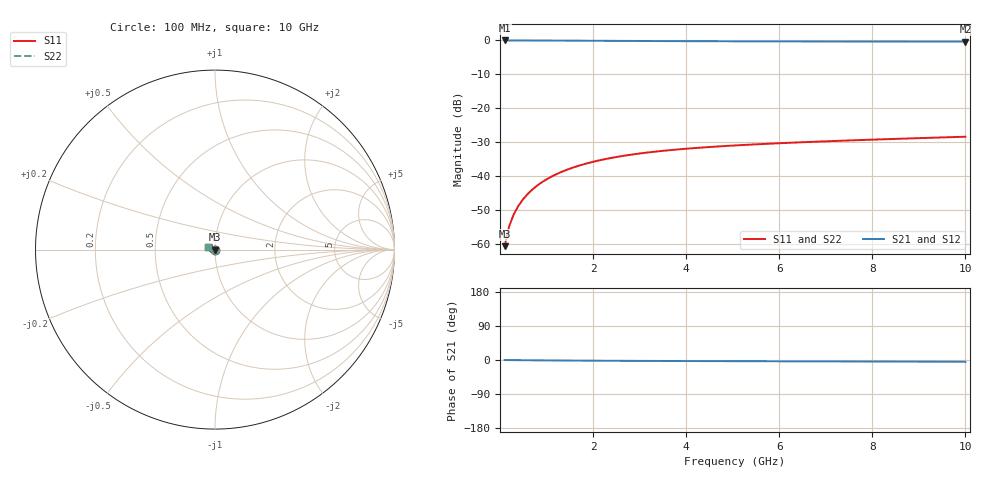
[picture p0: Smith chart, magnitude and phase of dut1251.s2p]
! Touchstone file exported from HFSS 2024.1.0
!  File:  C:/UserFiles/LocalFiles/RDL_TSV_Batchsim/temp_TSV1_1251_1780252323.aedt
!  Generated:  02:38:18 AM Jun  1, 2026
!  Design:  TSV1
!  Project:  temp_TSV1_1251_1780252323
!  Setup:  Setup1
!  Solution:  Sweep
! Variables:
!  dtsv = 9.34um
!  hbump = 3um
!  htsv = 69.13um
!  lrdl = 252.1521522um
!  p = 40
!  p1 = 56.06um
!  t = 500um
!  trdl = 3um
!  wrdl = 24.89489489um
# GHz S MA R 50.000000
! Terminal data exported
! Port[1] = TSV22_T1
! Port[2] = TSV22_T2
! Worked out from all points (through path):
!   100 points, 100 MHz to 10 GHz, reference 50 ohm
!   highest |S21| = 0.00 dB at 100 MHz (marker M1); lowest = -0.3 dB at 10 GHz (marker M2)
!   lowest |S11| = -60.5 dB at 100 MHz (marker M3), VSWR 1.00, Z = 50 - j0.0936 ohm
!   |S11| at or under -10 dB: start of sweep to end of sweep
!   |S22| runs from -60.5 to -28.3 dB; largest |S21 - S12| = 4.5e-15
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0.1  0.0009427 -82.9  0.9998 -0.1  0.9998 -0.1  0.0009427 -82.9
! Gamma 0 0 0 0
! Port Impedance 50 0 50 0
0.2  0.001871 -89.3  0.9997 -0.2  0.9997 -0.2  0.001871 -89.3
0.3  0.002803 -92.9  0.9995 -0.3  0.9995 -0.3  0.002803 -92.9
0.4  0.00373 -95.8  0.9993 -0.4  0.9993 -0.4  0.00373 -95.8
0.5  0.004649 -98.4  0.9989 -0.5  0.9989 -0.5  0.004649 -98.4
0.6  0.005558 -100.8  0.9986 -0.6  0.9986 -0.6  0.005558 -100.8
0.7  0.006454 -103.1  0.9981 -0.7  0.9981 -0.7  0.006453 -103.1
0.8  0.007335 -105.3  0.9977 -0.8  0.9977 -0.8  0.007335 -105.3
0.9  0.0082 -107.4  0.9971 -0.9  0.9971 -0.9  0.0082 -107.4
1.1  0.009877 -111.6  0.9959 -1.1  0.9959 -1.1  0.009877 -111.6
1.4  0.01225 -117.5  0.9939 -1.4  0.9939 -1.4  0.01225 -117.5
1.6  0.01372 -121.2  0.9924 -1.5  0.9924 -1.5  0.01372 -121.2
1.8  0.01511 -124.8  0.9909 -1.7  0.9909 -1.7  0.01511 -124.8
2.1  0.01703 -129.9  0.9886 -1.9  0.9886 -1.9  0.01703 -129.9
2.5  0.0193 -136.2  0.9856 -2.1  0.9856 -2.1  0.0193 -136.2
2.9  0.02128 -142.1  0.9827 -2.3  0.9827 -2.3  0.02128 -142.1
3.4  0.0234 -148.7  0.9794 -2.5  0.9794 -2.5  0.0234 -148.7
4.2  0.02618 -157.9  0.975 -2.8  0.975 -2.8  0.02618 -157.9
5.1  0.02869 -166.8  0.9711 -3.1  0.9711 -3.1  0.02869 -166.8
6.7  0.03225 -179.6  0.9663 -3.6  0.9663 -3.6  0.03225 -179.6
8.4  0.03548 169.5  0.963 -4.2  0.963 -4.2  0.03548 169.5
10  0.03837 161.0  0.9609 -4.7  0.9609 -4.7  0.03837 161.0
